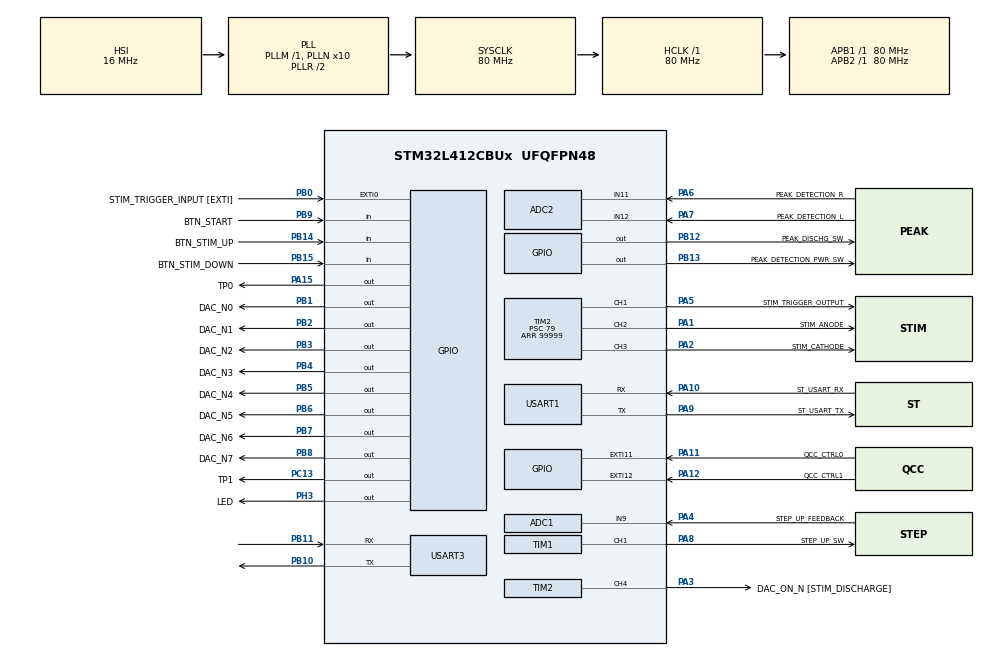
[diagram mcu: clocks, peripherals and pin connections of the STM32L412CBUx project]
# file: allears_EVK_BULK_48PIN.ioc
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ADC1.AWD1HighThreshold=2650
ADC1.AWD1ITMode=ENABLE
ADC1.Channel-1\#ChannelRegularConversion=ADC_CHANNEL_9
ADC1.ClockPrescaler=ADC_CLOCK_ASYNC_DIV2
ADC1.ContinuousConvMode=ENABLE
ADC1.DMAContinuousRequests=ENABLE
ADC1.EOCSelection=ADC_EOC_SEQ_CONV
ADC1.EnableAnalogWatchDog1=true
ADC1.NbrOfConversionFlag=1
ADC1.OffsetNumber-1\#ChannelRegularConversion=ADC_OFFSET_NONE
ADC1.Overrun=ADC_OVR_DATA_OVERWRITTEN
ADC1.Rank-1\#ChannelRegularConversion=1
ADC1.SamplingTime-1\#ChannelRegularConversion=ADC_SAMPLETIME_47CYCLES_5
ADC1.WatchdogChannel=ADC_CHANNEL_9
ADC1.master=1
ADC2.Channel-3\#ChannelRegularConversion=ADC_CHANNEL_11
ADC2.Channel-4\#ChannelRegularConversion=ADC_CHANNEL_12
ADC2.ClockPrescaler=ADC_CLOCK_ASYNC_DIV2
ADC2.DMAContinuousRequests=ENABLE
ADC2.EOCSelection=ADC_EOC_SEQ_CONV
ADC2.ExternalTrigConv=ADC_EXTERNALTRIG_T2_TRGO
ADC2.ExternalTrigConvEdge=ADC_EXTERNALTRIGCONVEDGE_FALLING
ADC2.NbrOfConversion=2
ADC2.NbrOfConversionFlag=1
ADC2.OffsetNumber-3\#ChannelRegularConversion=ADC_OFFSET_NONE
ADC2.OffsetNumber-4\#ChannelRegularConversion=ADC_OFFSET_NONE
ADC2.Overrun=ADC_OVR_DATA_OVERWRITTEN
ADC2.Rank-3\#ChannelRegularConversion=1
ADC2.Rank-4\#ChannelRegularConversion=2
ADC2.SamplingTime-3\#ChannelRegularConversion=ADC_SAMPLETIME_47CYCLES_5
ADC2.SamplingTime-4\#ChannelRegularConversion=ADC_SAMPLETIME_47CYCLES_5
Dma.ADC1.5.Direction=DMA_PERIPH_TO_MEMORY
Dma.ADC1.5.Instance=DMA2_Channel3
Dma.ADC1.5.MemDataAlignment=DMA_MDATAALIGN_HALFWORD
Dma.ADC1.5.MemInc=DMA_MINC_ENABLE
Dma.ADC1.5.Mode=DMA_CIRCULAR
Dma.ADC1.5.PeriphDataAlignment=DMA_PDATAALIGN_HALFWORD
Dma.ADC1.5.PeriphInc=DMA_PINC_DISABLE
Dma.ADC1.5.Priority=DMA_PRIORITY_LOW
Dma.ADC2.4.Direction=DMA_PERIPH_TO_MEMORY
Dma.ADC2.4.Instance=DMA1_Channel2
Dma.ADC2.4.MemDataAlignment=DMA_MDATAALIGN_HALFWORD
Dma.ADC2.4.MemInc=DMA_MINC_ENABLE
Dma.ADC2.4.Mode=DMA_CIRCULAR
Dma.ADC2.4.PeriphDataAlignment=DMA_PDATAALIGN_HALFWORD
Dma.ADC2.4.PeriphInc=DMA_PINC_DISABLE
Dma.ADC2.4.Priority=DMA_PRIORITY_LOW
Dma.Request0=TIM2_CH2/CH4
Dma.Request1=TIM2_CH3
Dma.Request2=USART1_RX
Dma.Request3=USART1_TX
Dma.Request4=ADC2
Dma.Request5=ADC1
Dma.TIM2_CH2/CH4.0.Direction=DMA_MEMORY_TO_PERIPH
Dma.TIM2_CH2/CH4.0.Instance=DMA1_Channel7
Dma.TIM2_CH2/CH4.0.MemDataAlignment=DMA_MDATAALIGN_WORD
Dma.TIM2_CH2/CH4.0.MemInc=DMA_MINC_ENABLE
Dma.TIM2_CH2/CH4.0.Mode=DMA_CIRCULAR
Dma.TIM2_CH2/CH4.0.PeriphDataAlignment=DMA_PDATAALIGN_WORD
Dma.TIM2_CH2/CH4.0.PeriphInc=DMA_PINC_DISABLE
Dma.TIM2_CH2/CH4.0.Priority=DMA_PRIORITY_VERY_HIGH
Dma.TIM2_CH3.1.Direction=DMA_MEMORY_TO_PERIPH
Dma.TIM2_CH3.1.Instance=DMA1_Channel1
Dma.TIM2_CH3.1.MemDataAlignment=DMA_MDATAALIGN_WORD
Dma.TIM2_CH3.1.MemInc=DMA_MINC_ENABLE
Dma.TIM2_CH3.1.Mode=DMA_CIRCULAR
Dma.TIM2_CH3.1.PeriphDataAlignment=DMA_PDATAALIGN_WORD
Dma.TIM2_CH3.1.PeriphInc=DMA_PINC_DISABLE
Dma.TIM2_CH3.1.Priority=DMA_PRIORITY_VERY_HIGH
Dma.USART1_RX.2.Direction=DMA_PERIPH_TO_MEMORY
Dma.USART1_RX.2.Instance=DMA1_Channel5
Dma.USART1_RX.2.MemDataAlignment=DMA_MDATAALIGN_BYTE
Dma.USART1_RX.2.MemInc=DMA_MINC_ENABLE
Dma.USART1_RX.2.Mode=DMA_NORMAL
Dma.USART1_RX.2.PeriphDataAlignment=DMA_PDATAALIGN_BYTE
Dma.USART1_RX.2.PeriphInc=DMA_PINC_DISABLE
Dma.USART1_RX.2.Priority=DMA_PRIORITY_LOW
Dma.USART1_TX.3.Direction=DMA_MEMORY_TO_PERIPH
Dma.USART1_TX.3.Instance=DMA1_Channel4
Dma.USART1_TX.3.MemDataAlignment=DMA_MDATAALIGN_BYTE
Dma.USART1_TX.3.MemInc=DMA_MINC_ENABLE
Dma.USART1_TX.3.Mode=DMA_NORMAL
Dma.USART1_TX.3.PeriphDataAlignment=DMA_PDATAALIGN_BYTE
Dma.USART1_TX.3.PeriphInc=DMA_PINC_DISABLE
Dma.USART1_TX.3.Priority=DMA_PRIORITY_LOW
Mcu.Family=STM32L4
Mcu.Name=STM32L412CBUx
Mcu.Package=UFQFPN48
NVIC.ADC1_2_IRQn=true\:1\:0\:true\:false\:true\:true\:true\:true
NVIC.DMA1_Channel1_IRQn=true\:1\:0\:true\:false\:true\:false\:true\:true
NVIC.DMA1_Channel2_IRQn=true\:1\:0\:true\:false\:true\:false\:true\:true
NVIC.DMA1_Channel4_IRQn=true\:0\:0\:true\:false\:true\:false\:true\:true
NVIC.DMA1_Channel5_IRQn=true\:0\:0\:true\:false\:true\:false\:true\:true
NVIC.DMA1_Channel7_IRQn=true\:1\:0\:true\:false\:true\:false\:true\:true
NVIC.EXTI0_IRQn=true\:0\:0\:false\:false\:true\:true\:true\:true
NVIC.EXTI15_10_IRQn=true\:0\:0\:false\:false\:true\:true\:true\:true
NVIC.PriorityGroup=NVIC_PRIORITYGROUP_4
NVIC.TIM1_UP_TIM16_IRQn=true\:2\:0\:true\:false\:true\:true\:true\:true
NVIC.TIM2_IRQn=true\:2\:0\:true\:false\:true\:true\:true\:true
NVIC.TIM6_IRQn=true\:1\:0\:true\:false\:true\:true\:true\:true
NVIC.USART1_IRQn=true\:0\:0\:true\:false\:true\:true\:true\:true
PA0.Mode=SYS_WakeUp0
PA0.Signal=SYS_WKUP1
PA1.GPIO_Label=STIM_ANODE
PA1.Signal=S_TIM2_CH2
PA10.GPIO_Label=ST_USART_RX
PA10.Mode=Asynchronous
PA10.Signal=USART1_RX
PA11.GPIO_Label=QCC_CTRL0
PA11.Signal=GPXTI11
PA12.GPIO_Label=QCC_CTRL1
PA12.Signal=GPXTI12
PA13\ (JTMS/SWDIO).Mode=Serial_Wire
PA13\ (JTMS/SWDIO).Signal=SYS_JTMS-SWDIO
PA14\ (JTCK/SWCLK).Mode=Serial_Wire
PA14\ (JTCK/SWCLK).Signal=SYS_JTCK-SWCLK
PA15\ (JTDI).GPIO_Label=TP0
PA15\ (JTDI).GPIO_PuPd=GPIO_PULLDOWN
PA15\ (JTDI).Signal=GPIO_Output
PA2.GPIO_Label=STIM_CATHODE
PA2.Signal=S_TIM2_CH3
PA3.GPIO_Label=DAC_ON_N [STIM_DISCHARGE]
PA3.Signal=S_TIM2_CH4
PA4.GPIO_Label=STEP_UP_FEEDBACK
PA4.Signal=ADCx_IN9
PA5.GPIO_Label=STIM_TRIGGER_OUTPUT
PA5.Signal=S_TIM2_CH1
PA6.GPIO_Label=PEAK_DETECTION_R
PA6.Signal=ADCx_IN11
PA7.GPIO_Label=PEAK_DETECTION_L
PA7.Signal=ADCx_IN12
PA8.GPIO_Label=STEP_UP_SW
PA8.Signal=S_TIM1_CH1
PA9.GPIO_Label=ST_USART_TX
PA9.Mode=Asynchronous
PA9.Signal=USART1_TX
PB0.GPIO_Label=STIM_TRIGGER_INPUT [EXTI]
PB0.Signal=GPXTI0
PB1.GPIO_Label=DAC_N0
PB1.GPIO_PuPd=GPIO_PULLDOWN
PB1.Signal=GPIO_Output
PB10.Mode=Asynchronous
PB10.Signal=USART3_TX
PB11.Mode=Asynchronous
PB11.Signal=USART3_RX
PB12.GPIO_Label=PEAK_DISCHG_SW
PB12.GPIO_PuPd=GPIO_PULLDOWN
PB12.Signal=GPIO_Output
PB13.GPIO_Label=PEAK_DETECTION_PWR_SW
PB13.GPIO_PuPd=GPIO_PULLDOWN
PB13.Signal=GPIO_Output
PB14.GPIO_Label=BTN_STIM_UP
PB14.GPIO_PuPd=GPIO_PULLUP
PB14.Signal=GPIO_Input
PB15.GPIO_Label=BTN_STIM_DOWN
PB15.GPIO_PuPd=GPIO_PULLUP
PB15.Signal=GPIO_Input
PB2.GPIO_Label=DAC_N1
PB2.GPIO_PuPd=GPIO_PULLDOWN
PB2.Signal=GPIO_Output
PB3\ (JTDO/TRACESWO).GPIO_Label=DAC_N2
PB3\ (JTDO/TRACESWO).GPIO_PuPd=GPIO_PULLDOWN
PB3\ (JTDO/TRACESWO).Signal=GPIO_Output
PB4\ (NJTRST).GPIO_Label=DAC_N3
PB4\ (NJTRST).GPIO_PuPd=GPIO_PULLDOWN
PB4\ (NJTRST).Signal=GPIO_Output
PB5.GPIO_Label=DAC_N4
PB5.GPIO_PuPd=GPIO_PULLDOWN
PB5.Signal=GPIO_Output
PB6.GPIO_Label=DAC_N5
PB6.GPIO_PuPd=GPIO_PULLDOWN
PB6.Signal=GPIO_Output
PB7.GPIO_Label=DAC_N6
PB7.GPIO_PuPd=GPIO_PULLDOWN
PB7.Signal=GPIO_Output
PB8.GPIO_Label=DAC_N7
PB8.GPIO_PuPd=GPIO_PULLDOWN
PB8.Signal=GPIO_Output
PB9.GPIO_Label=BTN_START
PB9.GPIO_PuPd=GPIO_PULLUP
PB9.Signal=GPIO_Input
PC13.GPIO_Label=TP1
PC13.GPIO_PuPd=GPIO_PULLDOWN
PC13.Signal=GPIO_Output
PC14-OSC32_IN\ (PC14).Mode=LSE-External-Oscillator
PC14-OSC32_IN\ (PC14).Signal=RCC_OSC32_IN
PC15-OSC32_OUT\ (PC15).Mode=LSE-External-Oscillator
PC15-OSC32_OUT\ (PC15).Signal=RCC_OSC32_OUT
PH0-OSC_IN\ (PH0).Mode=HSE-External-Oscillator
PH0-OSC_IN\ (PH0).Signal=RCC_OSC_IN
PH1-OSC_OUT\ (PH1).Mode=HSE-External-Oscillator
PH1-OSC_OUT\ (PH1).Signal=RCC_OSC_OUT
PH3-BOOT0\ (BOOT0).GPIO_Label=LED
PH3-BOOT0\ (BOOT0).GPIO_PuPd=GPIO_PULLDOWN
PH3-BOOT0\ (BOOT0).Signal=GPIO_Output
ProjectManager.HeapSize=0x7FF
ProjectManager.StackSize=0x7FF
ProjectManager.TargetToolchain=STM32CubeIDE
RCC.ADCFreq_Value=80000000
RCC.AHBFreq_Value=80000000
RCC.APB1Freq_Value=80000000
RCC.APB1TimFreq_Value=80000000
RCC.APB2Freq_Value=80000000
RCC.APB2TimFreq_Value=80000000
RCC.CortexFreq_Value=80000000
RCC.HCLKFreq_Value=80000000
RCC.HSE_VALUE=8000000
RCC.HSI48_VALUE=48000000
RCC.HSI_VALUE=16000000
RCC.MSI_VALUE=4000000
RCC.PLLN=10
RCC.PLLSourceVirtual=RCC_PLLSOURCE_HSI
RCC.SYSCLKFreq_VALUE=80000000
RCC.SYSCLKSource=RCC_SYSCLKSOURCE_PLLCLK
RCC.USBFreq_Value=4000000
RCC.VCOOutputFreq_Value=160000000
SH.ADCx_IN11.0=ADC2_IN11,IN11-Single-Ended
SH.ADCx_IN12.0=ADC2_IN12,IN12-Single-Ended
SH.ADCx_IN9.0=ADC1_IN9,IN9-Single-Ended
SH.S_TIM1_CH1.0=TIM1_CH1,PWM Generation1 CH1
SH.S_TIM2_CH1.0=TIM2_CH1,PWM Generation1 CH1
SH.S_TIM2_CH2.0=TIM2_CH2,PWM Generation2 CH2
SH.S_TIM2_CH3.0=TIM2_CH3,Output Compare3 CH3
SH.S_TIM2_CH4.0=TIM2_CH4,Output Compare4 CH4
TIM1.AutoReloadPreload=TIM_AUTORELOAD_PRELOAD_ENABLE
TIM1.Channel-PWM\ Generation1\ CH1=TIM_CHANNEL_1
TIM1.CounterMode=TIM_COUNTERMODE_DOWN
TIM1.Period=19999
TIM1.Prescaler=0
TIM16.AutoReloadPreload=TIM_AUTORELOAD_PRELOAD_ENABLE
TIM16.Period=9999
TIM16.Prescaler=799
TIM2.AutoReloadPreload=TIM_AUTORELOAD_PRELOAD_ENABLE
TIM2.Channel-Output\ Compare3\ CH3=TIM_CHANNEL_3
TIM2.Channel-Output\ Compare4\ CH4=TIM_CHANNEL_4
TIM2.Channel-PWM\ Generation1\ CH1=TIM_CHANNEL_1
TIM2.Channel-PWM\ Generation2\ CH2=TIM_CHANNEL_2
TIM2.OCMode_3=TIM_OCMODE_TOGGLE
TIM2.OCMode_4=TIM_OCMODE_TOGGLE
TIM2.OCPolarity_1=TIM_OCPOLARITY_LOW
TIM2.Period=99999
TIM2.Prescaler=79
TIM2.Pulse-Output\ Compare3\ CH3=1
TIM2.Pulse-Output\ Compare4\ CH4=1
TIM2.Pulse-PWM\ Generation1\ CH1=1
TIM2.Pulse-PWM\ Generation2\ CH2=1
TIM2.TIM_MasterOutputTrigger=TIM_TRGO_OC2REF
TIM6.AutoReloadPreload=TIM_AUTORELOAD_PRELOAD_ENABLE
TIM6.Period=9999
TIM6.Prescaler=799
USART1.VirtualMode-Asynchronous=VM_ASYNC
USART3.VirtualMode-Asynchronous=VM_ASYNC
VP_TIM16_VS_ClockSourceINT.Mode=Enable_Timer
VP_TIM6_VS_ClockSourceINT.Mode=Enable_Timer
board=custom

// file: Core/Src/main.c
/* USER CODE BEGIN Header */
/**
 ******************************************************************************
 * @file           : main.c
 * @brief          : Main program body
 ******************************************************************************
 * @attention
 *
 * Copyright (c) 2023 STMicroelectronics.
 * All rights reserved.
 *
 * This software is licensed under terms that can be found in the LICENSE file
 * in the root directory of this software component.
 * If no LICENSE file comes with this software, it is provided AS-IS.
 *
 ******************************************************************************
 */
/* USER CODE END Header */
#include "main.h"

/* USER CODE BEGIN Includes */
#include "stim_lib.h"
#include "stim_lib_st_inc.h"
#include "stim_lib_type.h"

#if 1
/* USER APPLICATION HEADER */
#include "td_stim_param_table.h"
#include "bt_msg_private.h"
#include "td_schedule.h"
#include "td_private.h"
#include "td_uart1.h"
#include "td_stim_param_setting.h"
#include "td_system_manager.h"
#endif

#include "td_debug.h"
/* USER CODE END Includes */

ADC_HandleTypeDef hadc1;
ADC_HandleTypeDef hadc2;
DMA_HandleTypeDef hdma_adc1;
DMA_HandleTypeDef hdma_adc2;

TIM_HandleTypeDef htim1;
TIM_HandleTypeDef htim2;
TIM_HandleTypeDef htim6;
TIM_HandleTypeDef htim16;
DMA_HandleTypeDef hdma_tim2_ch2_ch4;
DMA_HandleTypeDef hdma_tim2_ch3;

UART_HandleTypeDef huart1;
UART_HandleTypeDef huart3;
DMA_HandleTypeDef hdma_usart1_rx;
DMA_HandleTypeDef hdma_usart1_tx;

/* USER CODE BEGIN PV */
int td_tim16_cnt = 0;

/* USER CODE END PV */

void SystemClock_Config(void);
/* USER CODE BEGIN PFP */

/*
 * --------------- USER APPLICATION AREA ---------------
 * */
UART_HandleTypeDef* tdUsart1_handlerGet(void)
{
	return &huart1;
}

void USER_DMA_Init(void)
{
#ifdef TD_GPIO_UNUSED
	__HAL_RCC_DMA1_CLK_ENABLE();
	__HAL_RCC_DMA2_CLK_ENABLE();
#endif
	/* UART1 DMA RX and TX */
	HAL_NVIC_SetPriority(DMA1_Channel4_IRQn, 0, 0);
	HAL_NVIC_EnableIRQ(DMA1_Channel4_IRQn);
	HAL_NVIC_SetPriority(DMA1_Channel5_IRQn, 0, 0);
	HAL_NVIC_EnableIRQ(DMA1_Channel5_IRQn);
}

void USER_GPIO_Init(void)
{
	GPIO_InitTypeDef GPIO_InitStruct =
	{ 0 };

	/* GPIO Ports Clock Enable */
	__HAL_RCC_GPIOC_CLK_ENABLE();
	__HAL_RCC_GPIOA_CLK_ENABLE();
	__HAL_RCC_GPIOB_CLK_ENABLE();

	/* TP1 Configure GPIO pin Output Level */
	HAL_GPIO_WritePin(TP1_GPIO_Port, TP1_Pin, GPIO_PIN_RESET);

	/* TP0 Configure GPIO pin Output Level */
	HAL_GPIO_WritePin(TP0_GPIO_Port, TP0_Pin, GPIO_PIN_RESET);

	/* LED Configure GPIO pin Output Level */
	HAL_GPIO_WritePin(LED_GPIO_Port, LED_Pin, GPIO_PIN_RESET);

	/*Configure GPIO pin : TP1_Pin */
	GPIO_InitStruct.Pin = TP1_Pin;
	GPIO_InitStruct.Mode = GPIO_MODE_OUTPUT_PP;
	GPIO_InitStruct.Pull = GPIO_PULLDOWN;
	GPIO_InitStruct.Speed = GPIO_SPEED_FREQ_LOW;
	HAL_GPIO_Init(TP1_GPIO_Port, &GPIO_InitStruct);

	/*Configure GPIO pins : BTN_STIM_UP_Pin BTN_STIM_DOWN_Pin BTN_START_Pin */
	GPIO_InitStruct.Pin = BTN_STIM_UP_Pin | BTN_STIM_DOWN_Pin | BTN_START_Pin;
	GPIO_InitStruct.Mode = GPIO_MODE_INPUT;
	GPIO_InitStruct.Pull = GPIO_PULLUP;
	HAL_GPIO_Init(GPIOB, &GPIO_InitStruct);

	/*Configure GPIO pins : QCC_CTRL0_Pin QCC_CTRL1_Pin */
	GPIO_InitStruct.Pin = QCC_CTRL0_Pin | QCC_CTRL1_Pin;
	GPIO_InitStruct.Mode = GPIO_MODE_IT_RISING;
	GPIO_InitStruct.Pull = GPIO_NOPULL;
	HAL_GPIO_Init(GPIOA, &GPIO_InitStruct);

	/*Configure GPIO pin : TP0_Pin */
	GPIO_InitStruct.Pin = TP0_Pin;
	GPIO_InitStruct.Mode = GPIO_MODE_OUTPUT_PP;
	GPIO_InitStruct.Pull = GPIO_PULLDOWN;
	GPIO_InitStruct.Speed = GPIO_SPEED_FREQ_LOW;
	HAL_GPIO_Init(TP0_GPIO_Port, &GPIO_InitStruct);

	/*Configure GPIO pin : LED_Pin */
	GPIO_InitStruct.Pin = LED_Pin;
	GPIO_InitStruct.Mode = GPIO_MODE_OUTPUT_PP;
	GPIO_InitStruct.Pull = GPIO_PULLDOWN;
	GPIO_InitStruct.Speed = GPIO_SPEED_FREQ_LOW;
	HAL_GPIO_Init(LED_GPIO_Port, &GPIO_InitStruct);

	/* EXTI interrupt init :: QCC CTRL INTERRUPT */
	HAL_NVIC_SetPriority(EXTI15_10_IRQn, 0, 0);
	HAL_NVIC_EnableIRQ(EXTI15_10_IRQn);
}
/*
 * --------------- END OF USER APPLICATION AREA ---------------
 * */

/*
 * --------------- STIM LIB AREA ---------------
 * */
/*
 * STIM LIB :: EXTI CALLBACK
 * */
void HAL_GPIO_EXTI_Callback(uint16_t GPIO_Pin)
{
	/*
	 * Trigger Input External Interrupt Process
	 * */
	stimLib_trgInput_callback(GPIO_Pin);

	/* Application Code */
}

/*
 * STIM LIB :: PULSE FINISH INTERRUPT
 * */
void HAL_TIM_ErrorCallback(TIM_HandleTypeDef *htim)
{
	stimLib_timError_callback(htim);
	TD_DEBUG_PRINT(("HAL_TIM_ErrorCallback\n"));
}

void HAL_TIM_PWM_PulseFinishedHalfCpltCallback(TIM_HandleTypeDef *htim)
{
	TD_DEBUG_PRINT(("HAL_TIM_PWM_PulseFinishedHalfCpltCallback\n"));
}

void HAL_TIM_PWM_PulseFinishedCallback(TIM_HandleTypeDef *htim)
{
	/*
	 * TODO:
	 * STIM TEST
	 * */
#if 1
	stimLib_timPwmPluseFinished_callback(htim);
	TD_DEBUG_PRINT(("HAL_TIM_PWM_PulseFinishedCallback\n"));
	TD_DEBUG_PRINT(("\r\n"));
#endif
}

/*
 * TIMER INTERRUPT :: STEPUP SCHEDULER
 * */
void HAL_TIM_PeriodElapsedCallback(TIM_HandleTypeDef *htim)
{
	stimLib_stepup_ctrlCallback(htim);
	if (htim->Instance == TIM16)
	{
		td_tim16_cnt++;
		td_controlGroupPulseModeScheduler();

		/* LEVEL UPDATE TIME DEBOUNCING */
		if (td_tim16_cnt >= 10 && td_getSystemFSMState() == TD_SYS_STATE_RUN)
		{
#ifdef DEBUG
#if 0
			TD_DEBUG_PRINT(("IN LEVEL DEBOUNCING SCHEDULER\r\n"));
			TD_DEBUG_PRINT(("TD_STIM_CUR_MODE : %d\r\n",TD_STIM_CUR_MODE));
			TD_DEBUG_PRINT(("TD_STIM_LEVEL_UPDATE_ENABLE : %d\n", TD_STIM_LEVEL_UPDATE_ENABLE));
			TD_DEBUG_PRINT(("\r\n"));
#endif
#endif
			TD_STIM_LEVEL_UPDATE_ENABLE = 1;
			td_tim16_cnt = 0;
		}

	}
}

/*
 * STIM LIB :: ADC Error Callback
 * */
void HAL_ADC_ErrorCallback(ADC_HandleTypeDef *hadc)
{
	stimLib_adcError_callback();
}

/*
 * STIM LIB :: Ste-up ADC watchdog
 * */
void HAL_ADC_LevelOutOfWindowCallback(ADC_HandleTypeDef *hadc)
{
	stimLib_adcWatchdoc_callback();
}

#if 0
/*
 * STIM LIB :: Peak Detection Data Read
 * */
void HAL_ADC_ConvCpltCallback(ADC_HandleTypeDef *hadc)
{
	/*
	 * How to read Peak Detection data
	 * Please refer to the example code below
	 * ----------------------------------------
	 * uint8_t i;
	 * if (hadc->Instance == hadc2.Instance)
	 * {
	 * 		for (i = 0; i < PD_ADC_CONVERSION_SIZE; i++)
	 * 		{
	 * 			USER_PD_ADC_BUFF_R[i] = PD_ADC_CONVERSION_BUFFER[i * 2];
	 * 			USER_PD_ADC_BUFF_R[i] = PD_ADC_CONVERSION_BUFFER[(i * 2) + 1];
	 * 		}
	 * }
	 * ----------------------------------------
	 */
}
#endif
/*
 * --------------- END OF STIM LIB AREA ---------------
 * */

/* USER CODE END PFP */

int main(void)
{

	/* MCU Configuration--------------------------------------------------------*/

	/* Reset of all peripherals, Initializes the Flash interface and the Systick. */
	HAL_Init();

	/* Configure the system clock */
	SystemClock_Config();

	/* USER CODE BEGIN SysInit */
#if 1
	MX_USART3_UART_Init();
#ifndef TD_GPIO_UNUSED
	stimLib_stimInit();
#endif
	USER_DMA_Init();
	MX_USART3_UART_Init();
#ifndef TD_GPIO_UNUSED
	USER_GPIO_Init();
#endif
	MX_USART1_UART_Init();
	MX_TIM16_Init();
#else
	/* USER CODE END SysInit */

	/* Initialize all configured peripherals */
	MX_GPIO_Init();
	MX_DMA_Init();
	MX_USART3_UART_Init();
	MX_TIM1_Init();
	MX_TIM2_Init();
	MX_TIM6_Init();
	MX_ADC1_Init();
	MX_ADC2_Init();
	MX_USART1_UART_Init();
	MX_TIM16_Init();
	/* USER CODE BEGIN 2 */
#endif

	TD_DEBUG_INIT();
#ifdef STIM_LIB_EVKIT_CC
	TD_DEBUG_PRINT(("EVKIT MODE :: CC\n"));
#else
	TD_DEBUG_PRINT(("EVKIT MODE :: CV\n"));
#endif
	TD_DEBUG_PRINT(("main() starts\n"));TD_DEBUG_PRINT(("\r\n"));

	tdUart1_init();
	btMsg_init();

	td_clearSystemControlParameters();

	/* USER CODE END 2 */

	/* Infinite loop */
	while (1)
	{

		/* USER CODE BEGIN 3 */
		td_runMainSchedule();
	}
	/* USER CODE END 3 */
}

void SystemClock_Config(void)
{
	RCC_OscInitTypeDef RCC_OscInitStruct =
	{ 0 };
	RCC_ClkInitTypeDef RCC_ClkInitStruct =
	{ 0 };

	/** Configure the main internal regulator output voltage
	 */
	if (HAL_PWREx_ControlVoltageScaling(PWR_REGULATOR_VOLTAGE_SCALE1) != HAL_OK)
	{
		Error_Handler();
	}

	/** Initializes the RCC Oscillators according to the specified parameters
	 * in the RCC_OscInitTypeDef structure.
	 */
	RCC_OscInitStruct.OscillatorType = RCC_OSCILLATORTYPE_HSI;
	RCC_OscInitStruct.HSIState = RCC_HSI_ON;
	RCC_OscInitStruct.HSICalibrationValue = RCC_HSICALIBRATION_DEFAULT;
	RCC_OscInitStruct.PLL.PLLState = RCC_PLL_ON;
	RCC_OscInitStruct.PLL.PLLSource = RCC_PLLSOURCE_HSI;
	RCC_OscInitStruct.PLL.PLLM = 1;
	RCC_OscInitStruct.PLL.PLLN = 10;
	RCC_OscInitStruct.PLL.PLLQ = RCC_PLLQ_DIV2;
	RCC_OscInitStruct.PLL.PLLR = RCC_PLLR_DIV2;
	if (HAL_RCC_OscConfig(&RCC_OscInitStruct) != HAL_OK)
	{
		Error_Handler();
	}

	/** Initializes the CPU, AHB and APB buses clocks
	 */
	RCC_ClkInitStruct.ClockType = RCC_CLOCKTYPE_HCLK | RCC_CLOCKTYPE_SYSCLK | RCC_CLOCKTYPE_PCLK1 | RCC_CLOCKTYPE_PCLK2;
	RCC_ClkInitStruct.SYSCLKSource = RCC_SYSCLKSOURCE_PLLCLK;
	RCC_ClkInitStruct.AHBCLKDivider = RCC_SYSCLK_DIV1;
	RCC_ClkInitStruct.APB1CLKDivider = RCC_HCLK_DIV1;
	RCC_ClkInitStruct.APB2CLKDivider = RCC_HCLK_DIV1;

	if (HAL_RCC_ClockConfig(&RCC_ClkInitStruct, FLASH_LATENCY_4) != HAL_OK)
	{
		Error_Handler();
	}
}

void MX_ADC1_Init(void)
{

	ADC_MultiModeTypeDef multimode =
	{ 0 };
	ADC_AnalogWDGConfTypeDef AnalogWDGConfig =
	{ 0 };
	ADC_ChannelConfTypeDef sConfig =
	{ 0 };

	/** Common config
	 */
	hadc1.Instance = ADC1;
	hadc1.Init.ClockPrescaler = ADC_CLOCK_ASYNC_DIV2;
	hadc1.Init.Resolution = ADC_RESOLUTION_12B;
	hadc1.Init.DataAlign = ADC_DATAALIGN_RIGHT;
	hadc1.Init.ScanConvMode = ADC_SCAN_DISABLE;
	hadc1.Init.EOCSelection = ADC_EOC_SEQ_CONV;
	hadc1.Init.LowPowerAutoWait = DISABLE;
	hadc1.Init.ContinuousConvMode = ENABLE;
	hadc1.Init.NbrOfConversion = 1;
	hadc1.Init.DiscontinuousConvMode = DISABLE;
	hadc1.Init.ExternalTrigConv = ADC_SOFTWARE_START;
	hadc1.Init.ExternalTrigConvEdge = ADC_EXTERNALTRIGCONVEDGE_NONE;
	hadc1.Init.DMAContinuousRequests = ENABLE;
	hadc1.Init.Overrun = ADC_OVR_DATA_OVERWRITTEN;
	hadc1.Init.OversamplingMode = DISABLE;
	if (HAL_ADC_Init(&hadc1) != HAL_OK)
	{
		Error_Handler();
	}

	/** Configure the ADC multi-mode
	 */
	multimode.Mode = ADC_MODE_INDEPENDENT;
	if (HAL_ADCEx_MultiModeConfigChannel(&hadc1, &multimode) != HAL_OK)
	{
		Error_Handler();
	}

	/** Configure Analog WatchDog 1
	 */
	AnalogWDGConfig.WatchdogNumber = ADC_ANALOGWATCHDOG_1;
	AnalogWDGConfig.WatchdogMode = ADC_ANALOGWATCHDOG_SINGLE_REG;
	AnalogWDGConfig.Channel = ADC_CHANNEL_9;
	AnalogWDGConfig.ITMode = ENABLE;
	AnalogWDGConfig.HighThreshold = 2650;
	AnalogWDGConfig.LowThreshold = 0;
	if (HAL_ADC_AnalogWDGConfig(&hadc1, &AnalogWDGConfig) != HAL_OK)
	{
		Error_Handler();
	}

	/** Configure Regular Channel
	 */
	sConfig.Channel = ADC_CHANNEL_9;
	sConfig.Rank = ADC_REGULAR_RANK_1;
	sConfig.SamplingTime = ADC_SAMPLETIME_47CYCLES_5;
	sConfig.SingleDiff = ADC_SINGLE_ENDED;
	sConfig.OffsetNumber = ADC_OFFSET_NONE;
	sConfig.Offset = 0;
	if (HAL_ADC_ConfigChannel(&hadc1, &sConfig) != HAL_OK)
	{
		Error_Handler();
	}

}

void MX_ADC2_Init(void)
{

	ADC_ChannelConfTypeDef sConfig =
	{ 0 };

	/** Common config
	 */
	hadc2.Instance = ADC2;
	hadc2.Init.ClockPrescaler = ADC_CLOCK_ASYNC_DIV2;
	hadc2.Init.Resolution = ADC_RESOLUTION_12B;
	hadc2.Init.DataAlign = ADC_DATAALIGN_RIGHT;
	hadc2.Init.ScanConvMode = ADC_SCAN_ENABLE;
	hadc2.Init.EOCSelection = ADC_EOC_SEQ_CONV;
	hadc2.Init.LowPowerAutoWait = DISABLE;
	hadc2.Init.ContinuousConvMode = DISABLE;
	hadc2.Init.NbrOfConversion = 2;
	hadc2.Init.DiscontinuousConvMode = DISABLE;
	hadc2.Init.ExternalTrigConv = ADC_EXTERNALTRIG_T2_TRGO;
	hadc2.Init.ExternalTrigConvEdge = ADC_EXTERNALTRIGCONVEDGE_FALLING;
	hadc2.Init.DMAContinuousRequests = ENABLE;
	hadc2.Init.Overrun = ADC_OVR_DATA_OVERWRITTEN;
	hadc2.Init.OversamplingMode = DISABLE;
	if (HAL_ADC_Init(&hadc2) != HAL_OK)
	{
		Error_Handler();
	}

	/** Configure Regular Channel
	 */
	sConfig.Channel = ADC_CHANNEL_11;
	sConfig.Rank = ADC_REGULAR_RANK_1;
	sConfig.SamplingTime = ADC_SAMPLETIME_47CYCLES_5;
	sConfig.SingleDiff = ADC_SINGLE_ENDED;
	sConfig.OffsetNumber = ADC_OFFSET_NONE;
	sConfig.Offset = 0;
	if (HAL_ADC_ConfigChannel(&hadc2, &sConfig) != HAL_OK)
	{
		Error_Handler();
	}

	/** Configure Regular Channel
	 */
	sConfig.Channel = ADC_CHANNEL_12;
	sConfig.Rank = ADC_REGULAR_RANK_2;
	if (HAL_ADC_ConfigChannel(&hadc2, &sConfig) != HAL_OK)
	{
		Error_Handler();
	}

}

void MX_TIM1_Init(void)
{

	TIM_MasterConfigTypeDef sMasterConfig =
	{ 0 };
	TIM_OC_InitTypeDef sConfigOC =
	{ 0 };
	TIM_BreakDeadTimeConfigTypeDef sBreakDeadTimeConfig =
	{ 0 };

	htim1.Instance = TIM1;
	htim1.Init.Prescaler = 0;
	htim1.Init.CounterMode = TIM_COUNTERMODE_DOWN;
	htim1.Init.Period = 19999;
	htim1.Init.ClockDivision = TIM_CLOCKDIVISION_DIV1;
	htim1.Init.RepetitionCounter = 0;
	htim1.Init.AutoReloadPreload = TIM_AUTORELOAD_PRELOAD_ENABLE;
	if (HAL_TIM_PWM_Init(&htim1) != HAL_OK)
	{
		Error_Handler();
	}
	sMasterConfig.MasterOutputTrigger = TIM_TRGO_RESET;
	sMasterConfig.MasterOutputTrigger2 = TIM_TRGO2_RESET;
	sMasterConfig.MasterSlaveMode = TIM_MASTERSLAVEMODE_DISABLE;
	if (HAL_TIMEx_MasterConfigSynchronization(&htim1, &sMasterConfig) != HAL_OK)
	{
		Error_Handler();
	}
	sConfigOC.OCMode = TIM_OCMODE_PWM1;
	sConfigOC.Pulse = 0;
	sConfigOC.OCPolarity = TIM_OCPOLARITY_HIGH;
	sConfigOC.OCNPolarity = TIM_OCNPOLARITY_HIGH;
	sConfigOC.OCFastMode = TIM_OCFAST_DISABLE;
	sConfigOC.OCIdleState = TIM_OCIDLESTATE_RESET;
	sConfigOC.OCNIdleState = TIM_OCNIDLESTATE_RESET;
	if (HAL_TIM_PWM_ConfigChannel(&htim1, &sConfigOC, TIM_CHANNEL_1) != HAL_OK)
	{
		Error_Handler();
	}
	sBreakDeadTimeConfig.OffStateRunMode = TIM_OSSR_DISABLE;
	sBreakDeadTimeConfig.OffStateIDLEMode = TIM_OSSI_DISABLE;
	sBreakDeadTimeConfig.LockLevel = TIM_LOCKLEVEL_OFF;
	sBreakDeadTimeConfig.DeadTime = 0;
	sBreakDeadTimeConfig.BreakState = TIM_BREAK_DISABLE;
	sBreakDeadTimeConfig.BreakPolarity = TIM_BREAKPOLARITY_HIGH;
	sBreakDeadTimeConfig.BreakFilter = 0;
	sBreakDeadTimeConfig.Break2State = TIM_BREAK2_DISABLE;
	sBreakDeadTimeConfig.Break2Polarity = TIM_BREAK2POLARITY_HIGH;
	sBreakDeadTimeConfig.Break2Filter = 0;
	sBreakDeadTimeConfig.AutomaticOutput = TIM_AUTOMATICOUTPUT_DISABLE;
	if (HAL_TIMEx_ConfigBreakDeadTime(&htim1, &sBreakDeadTimeConfig) != HAL_OK)
	{
		Error_Handler();
	}
	HAL_TIM_MspPostInit(&htim1);

}

void MX_TIM2_Init(void)
{

	TIM_MasterConfigTypeDef sMasterConfig =
	{ 0 };
	TIM_OC_InitTypeDef sConfigOC =
	{ 0 };

	htim2.Instance = TIM2;
	htim2.Init.Prescaler = 79;
	htim2.Init.CounterMode = TIM_COUNTERMODE_UP;
	htim2.Init.Period = 99999;
	htim2.Init.ClockDivision = TIM_CLOCKDIVISION_DIV1;
	htim2.Init.AutoReloadPreload = TIM_AUTORELOAD_PRELOAD_ENABLE;
	if (HAL_TIM_PWM_Init(&htim2) != HAL_OK)
	{
		Error_Handler();
	}
	if (HAL_TIM_OC_Init(&htim2) != HAL_OK)
	{
		Error_Handler();
	}
	sMasterConfig.MasterOutputTrigger = TIM_TRGO_OC2REF;
	sMasterConfig.MasterSlaveMode = TIM_MASTERSLAVEMODE_DISABLE;
	if (HAL_TIMEx_MasterConfigSynchronization(&htim2, &sMasterConfig) != HAL_OK)
	{
		Error_Handler();
	}
	sConfigOC.OCMode = TIM_OCMODE_PWM1;
	sConfigOC.Pulse = 1;
	sConfigOC.OCPolarity = TIM_OCPOLARITY_LOW;
	sConfigOC.OCFastMode = TIM_OCFAST_DISABLE;
	if (HAL_TIM_PWM_ConfigChannel(&htim2, &sConfigOC, TIM_CHANNEL_1) != HAL_OK)
	{
		Error_Handler();
	}
	sConfigOC.OCPolarity = TIM_OCPOLARITY_HIGH;
	if (HAL_TIM_PWM_ConfigChannel(&htim2, &sConfigOC, TIM_CHANNEL_2) != HAL_OK)
	{
		Error_Handler();
	}
	sConfigOC.OCMode = TIM_OCMODE_TOGGLE;
	if (HAL_TIM_OC_ConfigChannel(&htim2, &sConfigOC, TIM_CHANNEL_3) != HAL_OK)
	{
		Error_Handler();
	}
	if (HAL_TIM_OC_ConfigChannel(&htim2, &sConfigOC, TIM_CHANNEL_4) != HAL_OK)
	{
		Error_Handler();
	}
	HAL_TIM_MspPostInit(&htim2);

}

void MX_TIM6_Init(void)
{

	TIM_MasterConfigTypeDef sMasterConfig =
	{ 0 };

	htim6.Instance = TIM6;
	htim6.Init.Prescaler = 799;
	htim6.Init.CounterMode = TIM_COUNTERMODE_UP;
	htim6.Init.Period = 9999;
	htim6.Init.AutoReloadPreload = TIM_AUTORELOAD_PRELOAD_ENABLE;
	if (HAL_TIM_Base_Init(&htim6) != HAL_OK)
	{
		Error_Handler();
	}
	sMasterConfig.MasterOutputTrigger = TIM_TRGO_RESET;
	sMasterConfig.MasterSlaveMode = TIM_MASTERSLAVEMODE_DISABLE;
	if (HAL_TIMEx_MasterConfigSynchronization(&htim6, &sMasterConfig) != HAL_OK)
	{
		Error_Handler();
	}

}

void MX_TIM16_Init(void)
{

	htim16.Instance = TIM16;
	htim16.Init.Prescaler = 799;
	htim16.Init.CounterMode = TIM_COUNTERMODE_UP;
	htim16.Init.Period = 9999;
	htim16.Init.ClockDivision = TIM_CLOCKDIVISION_DIV1;
	htim16.Init.RepetitionCounter = 0;
	htim16.Init.AutoReloadPreload = TIM_AUTORELOAD_PRELOAD_ENABLE;
	if (HAL_TIM_Base_Init(&htim16) != HAL_OK)
	{
		Error_Handler();
	}

}

void MX_USART1_UART_Init(void)
{

	huart1.Instance = USART1;
	huart1.Init.BaudRate = 115200;
	huart1.Init.WordLength = UART_WORDLENGTH_8B;
	huart1.Init.StopBits = UART_STOPBITS_1;
	huart1.Init.Parity = UART_PARITY_NONE;
	huart1.Init.Mode = UART_MODE_TX_RX;
	huart1.Init.HwFlowCtl = UART_HWCONTROL_NONE;
	huart1.Init.OverSampling = UART_OVERSAMPLING_16;
	huart1.Init.OneBitSampling = UART_ONE_BIT_SAMPLE_DISABLE;
	huart1.AdvancedInit.AdvFeatureInit = UART_ADVFEATURE_NO_INIT;
	if (HAL_UART_Init(&huart1) != HAL_OK)
	{
		Error_Handler();
	}

}

void MX_USART3_UART_Init(void)
{

	huart3.Instance = USART3;
	huart3.Init.BaudRate = 115200;
	huart3.Init.WordLength = UART_WORDLENGTH_8B;
	huart3.Init.StopBits = UART_STOPBITS_1;
	huart3.Init.Parity = UART_PARITY_NONE;
	huart3.Init.Mode = UART_MODE_TX_RX;
	huart3.Init.HwFlowCtl = UART_HWCONTROL_NONE;
	huart3.Init.OverSampling = UART_OVERSAMPLING_16;
	huart3.Init.OneBitSampling = UART_ONE_BIT_SAMPLE_DISABLE;
	huart3.AdvancedInit.AdvFeatureInit = UART_ADVFEATURE_NO_INIT;
	if (HAL_UART_Init(&huart3) != HAL_OK)
	{
		Error_Handler();
	}

}

void MX_DMA_Init(void)
{

	/* DMA controller clock enable */
	__HAL_RCC_DMA1_CLK_ENABLE();
	__HAL_RCC_DMA2_CLK_ENABLE();

	/* DMA interrupt init */
	/* DMA1_Channel1_IRQn interrupt configuration */
	HAL_NVIC_SetPriority(DMA1_Channel1_IRQn, 1, 0);
	HAL_NVIC_EnableIRQ(DMA1_Channel1_IRQn);
	/* DMA1_Channel2_IRQn interrupt configuration */
	HAL_NVIC_SetPriority(DMA1_Channel2_IRQn, 1, 0);
	HAL_NVIC_EnableIRQ(DMA1_Channel2_IRQn);
	/* DMA1_Channel4_IRQn interrupt configuration */
	HAL_NVIC_SetPriority(DMA1_Channel4_IRQn, 0, 0);
	HAL_NVIC_EnableIRQ(DMA1_Channel4_IRQn);
	/* DMA1_Channel5_IRQn interrupt configuration */
	HAL_NVIC_SetPriority(DMA1_Channel5_IRQn, 0, 0);
	HAL_NVIC_EnableIRQ(DMA1_Channel5_IRQn);
	/* DMA1_Channel7_IRQn interrupt configuration */
	HAL_NVIC_SetPriority(DMA1_Channel7_IRQn, 1, 0);
	HAL_NVIC_EnableIRQ(DMA1_Channel7_IRQn);

}

void MX_GPIO_Init(void)
{
	GPIO_InitTypeDef GPIO_InitStruct =
	{ 0 };

	/* GPIO Ports Clock Enable */
	__HAL_RCC_GPIOC_CLK_ENABLE();
	__HAL_RCC_GPIOH_CLK_ENABLE();
	__HAL_RCC_GPIOA_CLK_ENABLE();
	__HAL_RCC_GPIOB_CLK_ENABLE();

	/*Configure GPIO pin Output Level */
	HAL_GPIO_WritePin(TP1_GPIO_Port, TP1_Pin, GPIO_PIN_RESET);

	/*Configure GPIO pin Output Level */
	HAL_GPIO_WritePin(GPIOB,
			DAC_N0_Pin | DAC_N1_Pin | PEAK_DISCHG_SW_Pin | PEAK_DETECTION_PWR_SW_Pin | DAC_N2_Pin | DAC_N3_Pin | DAC_N4_Pin | DAC_N5_Pin | DAC_N6_Pin
					| DAC_N7_Pin, GPIO_PIN_RESET);

	/*Configure GPIO pin Output Level */
	HAL_GPIO_WritePin(TP0_GPIO_Port, TP0_Pin, GPIO_PIN_RESET);

	/*Configure GPIO pin Output Level */
	HAL_GPIO_WritePin(LED_GPIO_Port, LED_Pin, GPIO_PIN_RESET);

	/*Configure GPIO pin : TP1_Pin */
	GPIO_InitStruct.Pin = TP1_Pin;
	GPIO_InitStruct.Mode = GPIO_MODE_OUTPUT_PP;
	GPIO_InitStruct.Pull = GPIO_PULLDOWN;
	GPIO_InitStruct.Speed = GPIO_SPEED_FREQ_LOW;
	HAL_GPIO_Init(TP1_GPIO_Port, &GPIO_InitStruct);

	/*Configure GPIO pin : STIM_TRIGGER_INPUT_Pin */
	GPIO_InitStruct.Pin = STIM_TRIGGER_INPUT_Pin;
	GPIO_InitStruct.Mode = GPIO_MODE_IT_RISING;
	GPIO_InitStruct.Pull = GPIO_NOPULL;
	HAL_GPIO_Init(STIM_TRIGGER_INPUT_GPIO_Port, &GPIO_InitStruct);

	/*Configure GPIO pins : DAC_N0_Pin DAC_N1_Pin PEAK_DISCHG_SW_Pin PEAK_DETECTION_PWR_SW_Pin
	 DAC_N2_Pin DAC_N3_Pin DAC_N4_Pin DAC_N5_Pin
	 DAC_N6_Pin DAC_N7_Pin */
	GPIO_InitStruct.Pin = DAC_N0_Pin | DAC_N1_Pin | PEAK_DISCHG_SW_Pin | PEAK_DETECTION_PWR_SW_Pin | DAC_N2_Pin | DAC_N3_Pin | DAC_N4_Pin | DAC_N5_Pin
			| DAC_N6_Pin | DAC_N7_Pin;
	GPIO_InitStruct.Mode = GPIO_MODE_OUTPUT_PP;
	GPIO_InitStruct.Pull = GPIO_PULLDOWN;
	GPIO_InitStruct.Speed = GPIO_SPEED_FREQ_LOW;
	HAL_GPIO_Init(GPIOB, &GPIO_InitStruct);

	/*Configure GPIO pins : BTN_STIM_UP_Pin BTN_STIM_DOWN_Pin BTN_START_Pin */
	GPIO_InitStruct.Pin = BTN_STIM_UP_Pin | BTN_STIM_DOWN_Pin | BTN_START_Pin;
	GPIO_InitStruct.Mode = GPIO_MODE_INPUT;
	GPIO_InitStruct.Pull = GPIO_PULLUP;
	HAL_GPIO_Init(GPIOB, &GPIO_InitStruct);

	/*Configure GPIO pins : QCC_CTRL0_Pin QCC_CTRL1_Pin */
	GPIO_InitStruct.Pin = QCC_CTRL0_Pin | QCC_CTRL1_Pin;
	GPIO_InitStruct.Mode = GPIO_MODE_IT_RISING;
	GPIO_InitStruct.Pull = GPIO_NOPULL;
	HAL_GPIO_Init(GPIOA, &GPIO_InitStruct);

	/*Configure GPIO pin : TP0_Pin */
	GPIO_InitStruct.Pin = TP0_Pin;
	GPIO_InitStruct.Mode = GPIO_MODE_OUTPUT_PP;
	GPIO_InitStruct.Pull = GPIO_PULLDOWN;
	GPIO_InitStruct.Speed = GPIO_SPEED_FREQ_LOW;
	HAL_GPIO_Init(TP0_GPIO_Port, &GPIO_InitStruct);

	/*Configure GPIO pin : LED_Pin */
	GPIO_InitStruct.Pin = LED_Pin;
	GPIO_InitStruct.Mode = GPIO_MODE_OUTPUT_PP;
	GPIO_InitStruct.Pull = GPIO_PULLDOWN;
	GPIO_InitStruct.Speed = GPIO_SPEED_FREQ_LOW;
	HAL_GPIO_Init(LED_GPIO_Port, &GPIO_InitStruct);

	/* EXTI interrupt init*/
	HAL_NVIC_SetPriority(EXTI0_IRQn, 0, 0);
	HAL_NVIC_EnableIRQ(EXTI0_IRQn);

	HAL_NVIC_SetPriority(EXTI15_10_IRQn, 0, 0);
	HAL_NVIC_EnableIRQ(EXTI15_10_IRQn);

}

void Error_Handler(void)
{
	__disable_irq();
	while (1)
	{
	}
}
